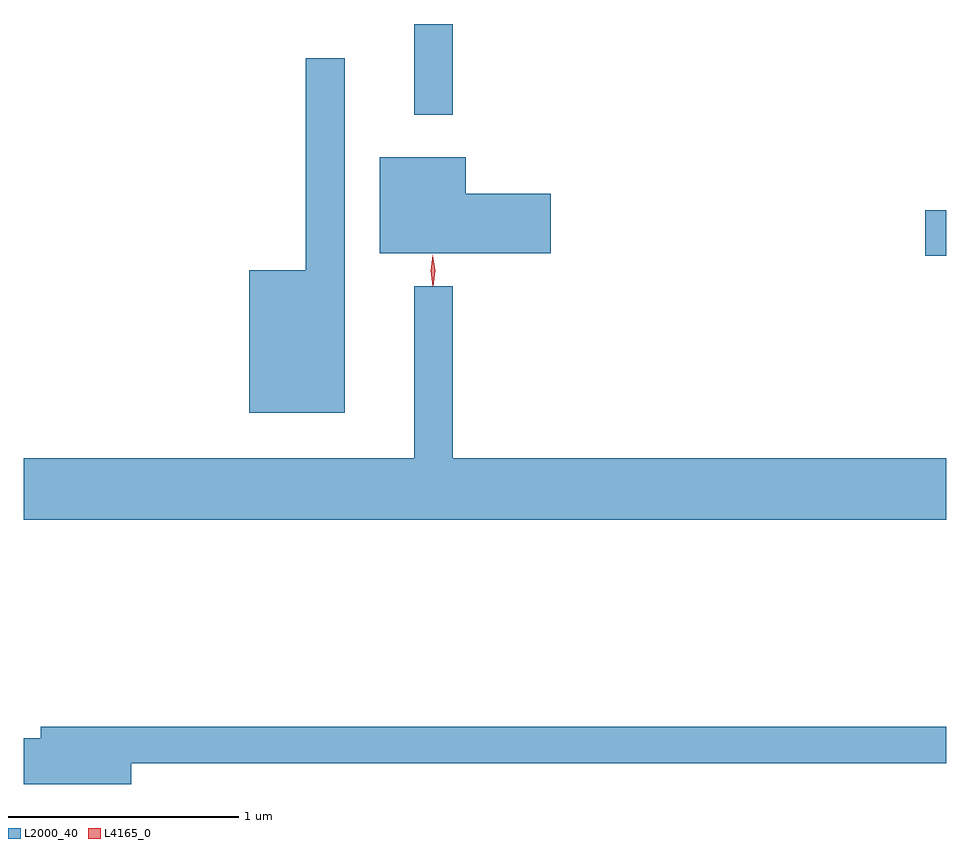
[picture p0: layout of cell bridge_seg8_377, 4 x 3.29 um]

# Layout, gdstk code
import gdstk
lib = gdstk.Library(unit=1e-6, precision=1e-09)
def R(c, l, rs):  # rectangles x0, y0, x1, y1
    for r in rs: c.add(gdstk.rectangle(r[:2], r[2:], *l))
def P(c, l, *ps):  # polygons
    for p in ps: c.add(gdstk.Polygon(p, *l))
L2000_40 = (2000, 40)
L4165_0 = (4165, 0)

bridge_seg8_377 = lib.new_cell('bridge_seg8_377')
R(bridge_seg8_377, L2000_40, [(630.036,1915.261,630.128,1915.459), (627.821,1915.873,627.989,1916.266)])
P(bridge_seg8_377, L2000_40, [(627.519,1916.118),(627.351,1916.118),(627.351,1915.199),(627.106,1915.199),(627.106,1914.581),(627.519,1914.581)],
  [(628.414,1915.529),(628.044,1915.529),(628.044,1915.689),(627.671,1915.689),(627.671,1915.271),(628.414,1915.271)],
  [(630.128,1914.384),(627.989,1914.384),(627.989,1915.128),(627.821,1915.128),(627.821,1914.384),(626.128,1914.384),(626.128,1914.116),(630.128,1914.116)],
  [(626.594,1913.061),(630.128,1913.061),(630.128,1913.219),(626.201,1913.219),(626.201,1913.169),(626.128,1913.169),(626.128,1912.971),(626.594,1912.971)])
P(bridge_seg8_377, L4165_0, [(627.902,1915.13),(627.902,1915.13),(627.892,1915.197),(627.901,1915.264),(627.902,1915.265),(627.902,1915.264),(627.912,1915.197),(627.903,1915.13)],
  [(627.902,1915.133),(627.902,1915.134),(627.892,1915.196),(627.901,1915.258),(627.902,1915.258),(627.902,1915.258),(627.912,1915.196),(627.903,1915.134)])

lib.write_gds('bridge_seg8_377.gds')
